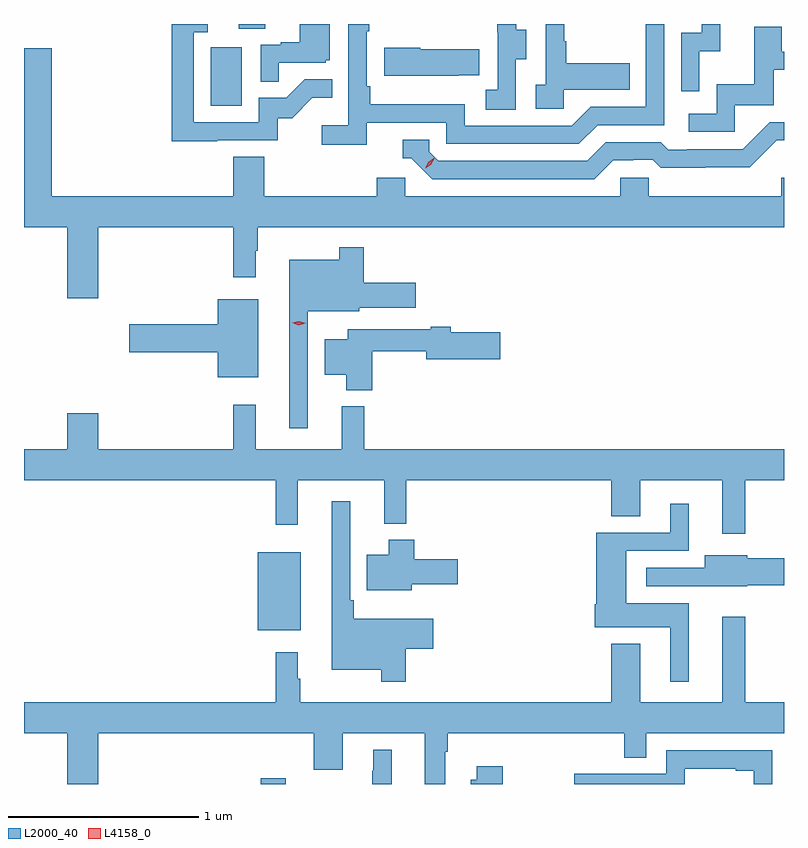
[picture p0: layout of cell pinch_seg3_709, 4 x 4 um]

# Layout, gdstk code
import gdstk
lib = gdstk.Library(unit=1e-6, precision=1e-09)
def R(c, l, rs):  # rectangles x0, y0, x1, y1
    for r in rs: c.add(gdstk.rectangle(r[:2], r[2:], *l))
def P(c, l, *ps):  # polygons
    for p in ps: c.add(gdstk.Polygon(p, *l))
L2000_40 = (2000, 40)
L4158_0 = (4158, 0)

pinch_seg3_709 = lib.new_cell('pinch_seg3_709')
R(pinch_seg3_709, L2000_40, [(1089.104,679.338,1089.235,679.369), (1089.086,680.147,1089.313,680.557), (1088.84,682.908,1089.004,683.215), (1088.987,683.314,1089.127,683.338)])
P(pinch_seg3_709, L2000_40, [(1090.698,682.991),(1091.045,682.991),(1091.045,683.131),(1090.711,683.131),(1090.711,683.246),(1090.701,683.246),(1090.701,683.338),(1090.602,683.338),(1090.602,683.018),(1090.551,683.018),(1090.551,682.893),(1090.698,682.893)],
  [(1091.412,683.195),(1091.522,683.195),(1091.522,683.338),(1091.424,683.338),(1091.424,683.292),(1091.316,683.292),(1091.316,682.983),(1091.412,682.983)],
  [(1088.873,682.725),(1089.192,682.725),(1089.192,682.842),(1089.268,682.842),(1089.375,682.949),(1089.479,682.949),(1089.479,683.048),(1089.335,683.048),(1089.237,682.95),(1089.093,682.95),(1089.093,682.821),(1088.751,682.821),(1088.751,683.295),(1088.824,683.295),(1088.824,683.338),(1088.635,683.338),(1088.635,682.72),(1088.873,682.72)],
  [(1089.662,682.818),(1090.08,682.818),(1090.08,682.707),(1090.777,682.707),(1090.876,682.806),(1091.226,682.806),(1091.226,683.338),(1091.13,683.338),(1091.13,682.902),(1090.839,682.902),(1090.74,682.803),(1090.176,682.803),(1090.176,682.915),(1089.68,682.915),(1089.68,683.011),(1089.66,683.011),(1089.66,683.299),(1089.673,683.299),(1089.673,683.338),(1089.564,683.338),(1089.564,682.804),(1089.423,682.804),(1089.423,682.702),(1089.662,682.702)],
  [(1090.446,683.152),(1090.501,683.152),(1090.501,683.307),(1090.447,683.307),(1090.447,683.338),(1090.349,683.338),(1090.349,683.295),(1090.35,683.295),(1090.35,682.991),(1090.287,682.991),(1090.287,682.888),(1090.446,682.888)],
  [(1089.197,683.133),(1089.444,683.133),(1089.444,683.148),(1089.466,683.148),(1089.466,683.338),(1089.308,683.338),(1089.308,683.242),(1089.209,683.242),(1089.209,683.229),(1089.102,683.229),(1089.102,683.035),(1089.197,683.035)],
  [(1091.598,682.911),(1091.803,682.911),(1091.803,683.097),(1091.857,683.097),(1091.857,683.193),(1091.845,683.193),(1091.845,683.323),(1091.701,683.323),(1091.701,683.02),(1091.502,683.02),(1091.502,682.866),(1091.355,682.866),(1091.355,682.77),(1091.598,682.77)],
  [(1090.145,683.069),(1090.253,683.069),(1090.253,683.206),(1089.943,683.206),(1089.943,683.214),(1089.752,683.214),(1089.752,683.066),(1090.145,683.066)],
  [(1088.957,682.432),(1088.003,682.432),(1088.003,683.211),(1087.857,683.211),(1087.857,682.268),(1088.084,682.268),(1088.084,681.894),(1088.248,681.894),(1088.248,682.268),(1088.959,682.268),(1088.959,682.005),(1089.076,682.005),(1089.076,682.145),(1089.088,682.145),(1089.088,682.268),(1091.857,682.268),(1091.857,682.53),(1091.843,682.53),(1091.843,682.432),(1091.145,682.432),(1091.145,682.53),(1090.995,682.53),(1090.995,682.432),(1089.864,682.432),(1089.864,682.53),(1089.713,682.53),(1089.713,682.432),(1089.122,682.432),(1089.122,682.64),(1088.957,682.64)],
  [(1090.957,682.62),(1091.064,682.62),(1091.064,682.623),(1091.167,682.623),(1091.209,682.581),(1091.442,682.581),(1091.442,682.583),(1091.678,682.583),(1091.82,682.725),(1091.857,682.725),(1091.857,682.821),(1091.781,682.821),(1091.64,682.68),(1091.347,682.68),(1091.347,682.677),(1091.248,682.677),(1091.209,682.716),(1090.92,682.716),(1090.821,682.617),(1090.038,682.617),(1089.99,682.665),(1089.99,682.728),(1089.851,682.728),(1089.851,682.632),(1089.894,682.632),(1090.005,682.521),(1090.858,682.521)],
  [(1089.351,681.827),(1089.621,681.827),(1089.621,681.845),(1089.919,681.845),(1089.919,681.975),(1089.644,681.975),(1089.644,682.162),(1089.516,682.162),(1089.516,682.096),(1089.254,682.096),(1089.254,681.21),(1089.351,681.21)],
  [(1089.091,681.889),(1088.876,681.889),(1088.876,681.758),(1088.412,681.758),(1088.412,681.611),(1088.876,681.611),(1088.876,681.479),(1089.091,681.479)],
  [(1089.689,681.616),(1089.974,681.616),(1089.974,681.574),(1090.363,681.574),(1090.363,681.716),(1090.102,681.716),(1090.102,681.745),(1089.998,681.745),(1089.998,681.732),(1089.56,681.732),(1089.56,681.679),(1089.44,681.679),(1089.44,681.491),(1089.554,681.491),(1089.554,681.41),(1089.689,681.41)],
  [(1091.653,680.936),(1091.857,680.936),(1091.857,681.1),(1089.647,681.1),(1089.647,681.325),(1089.53,681.325),(1089.53,681.1),(1089.077,681.1),(1089.077,681.334),(1088.959,681.334),(1088.959,681.1),(1088.248,681.1),(1088.248,681.289),(1088.084,681.289),(1088.084,681.1),(1087.857,681.1),(1087.857,680.936),(1089.181,680.936),(1089.181,680.703),(1089.299,680.703),(1089.299,680.936),(1089.752,680.936),(1089.752,680.708),(1089.869,680.708),(1089.869,680.936),(1090.949,680.936),(1090.949,680.746),(1091.101,680.746),(1091.101,680.936),(1091.531,680.936),(1091.531,680.655),(1091.653,680.655)],
  [(1089.866,680.051),(1090.012,680.051),(1090.012,680.209),(1089.593,680.209),(1089.593,680.305),(1089.573,680.305),(1089.573,680.827),(1089.476,680.827),(1089.476,679.94),(1089.738,679.94),(1089.738,679.875),(1089.866,679.875)],
  [(1091.356,680.29),(1091.026,680.29),(1091.026,680.565),(1091.356,680.565),(1091.356,680.812),(1091.258,680.812),(1091.258,680.661),(1090.868,680.661),(1090.868,680.283),(1090.862,680.283),(1090.862,680.162),(1091.258,680.162),(1091.258,679.875),(1091.356,679.875)],
  [(1089.898,680.39),(1090.141,680.39),(1090.141,680.52),(1089.911,680.52),(1089.911,680.623),(1089.776,680.623),(1089.776,680.545),(1089.662,680.545),(1089.662,680.357),(1089.898,680.357)],
  [(1091.664,680.384),(1091.857,680.384),(1091.857,680.526),(1091.664,680.526),(1091.664,680.542),(1091.441,680.542),(1091.441,680.475),(1091.133,680.475),(1091.133,680.379),(1091.445,680.379),(1091.445,680.378),(1091.664,680.378)],
  [(1088.248,679.604),(1089.383,679.604),(1089.383,679.412),(1089.535,679.412),(1089.535,679.604),(1089.965,679.604),(1089.965,679.338),(1090.075,679.338),(1090.075,679.508),(1090.088,679.508),(1090.088,679.604),(1091.017,679.604),(1091.017,679.477),(1091.133,679.477),(1091.133,679.604),(1091.857,679.604),(1091.857,679.768),(1091.653,679.768),(1091.653,680.218),(1091.531,680.218),(1091.531,679.768),(1091.101,679.768),(1091.101,680.077),(1090.949,680.077),(1090.949,679.768),(1089.31,679.768),(1089.31,679.892),(1089.298,679.892),(1089.298,680.032),(1089.181,680.032),(1089.181,679.768),(1087.857,679.768),(1087.857,679.604),(1088.084,679.604),(1088.084,679.338),(1088.248,679.338)],
  [(1089.793,679.519),(1089.695,679.519),(1089.695,679.409),(1089.691,679.409),(1089.691,679.338),(1089.793,679.338)],
  [(1091.334,679.419),(1091.603,679.419),(1091.603,679.407),(1091.699,679.407),(1091.699,679.338),(1091.796,679.338),(1091.796,679.515),(1091.238,679.515),(1091.238,679.392),(1090.752,679.392),(1090.752,679.338),(1091.334,679.338)],
  [(1090.377,679.432),(1090.241,679.432),(1090.241,679.36),(1090.208,679.36),(1090.208,679.338),(1090.377,679.338)])
P(pinch_seg3_709, L4158_0, [(1089.968,682.578),(1089.968,682.578),(1089.984,682.611),(1090.014,682.631),(1090.015,682.631),(1090.015,682.63),(1089.999,682.598),(1089.968,682.578)],
  [(1089.304,681.753),(1089.27,681.765),(1089.27,681.765),(1089.27,681.765),(1089.306,681.773),(1089.34,681.762),(1089.34,681.762),(1089.34,681.762)])

lib.write_gds('pinch_seg3_709.gds')
